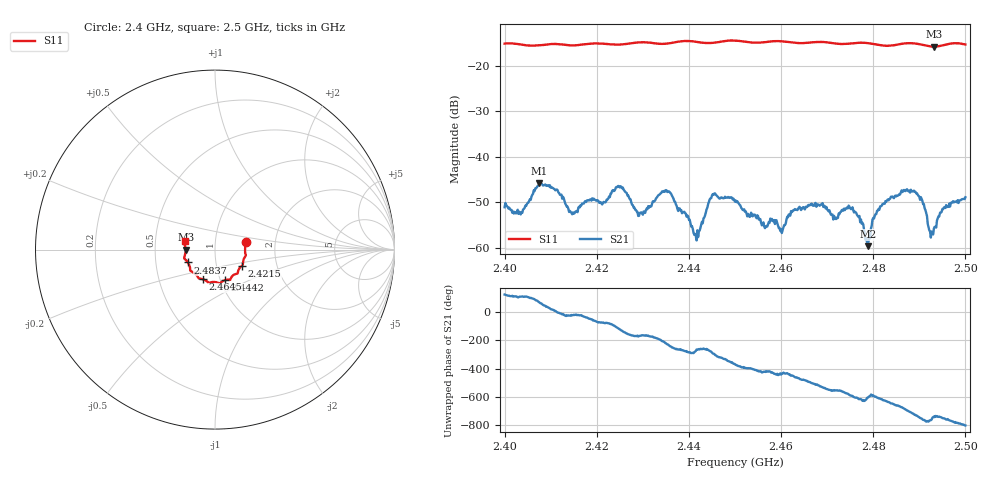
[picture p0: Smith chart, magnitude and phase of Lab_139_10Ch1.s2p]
# Hz S RI R 50
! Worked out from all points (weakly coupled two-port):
!   601 points, 2.4 GHz to 2.5 GHz, reference 50 ohm
!   highest |S21| = -45.79 dB at 2.4075 GHz (marker M1); lowest = -59.6 dB at 2.4788 GHz (marker M2)
!   lowest |S11| = -15.7 dB at 2.4932 GHz (marker M3), VSWR 1.39, Z = 36 - j0.0532 ohm
!   |S11| at or under -10 dB: start of sweep to end of sweep
!   S12 and S22 are empty: the file has one direction only
!   S11 on the Smith chart (normalised r, x): 2.4 GHz: 1.41, +0.12; 2.4215 GHz: 1.33, -0.25; 2.4442 GHz: 1.05, -0.37; 2.4645 GHz: 0.83, -0.29; 2.4837 GHz: 0.73, -0.11; 2.5 GHz: 0.71, +0.07
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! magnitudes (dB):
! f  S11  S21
! 2.4 GHz  -15.1  -51.1
! 2.4035 GHz  -15.3  -52.6
! 2.4075 GHz  -15.5  -45.8
! 2.4167 GHz  -15.3  -50.6
! 2.4215 GHz  -15.1  -49.9
! 2.4252 GHz  -15.3  -46.5
! 2.4295 GHz  -14.8  -52.2
! 2.4333 GHz  -15.1  -48.5
! 2.436 GHz  -15.0  -47.9
! 2.4415 GHz  -14.7  -57.5
! 2.4442 GHz  -15.0  -50.4
! 2.45 GHz  -14.4  -49.8
! 2.46 GHz  -14.6  -55.9
! 2.4645 GHz  -15.0  -51.4
! 2.4667 GHz  -14.8  -50.3
! 2.4752 GHz  -15.1  -51.5
! 2.4788 GHz  -15.0  -59.6
! 2.4833 GHz  -15.6  -49.5
! 2.4837 GHz  -15.5  -49.2
! 2.4892 GHz  -15.1  -47.7
! 2.4932 GHz  -15.7  -55.7
! 2.5 GHz  -15.3  -48.9
